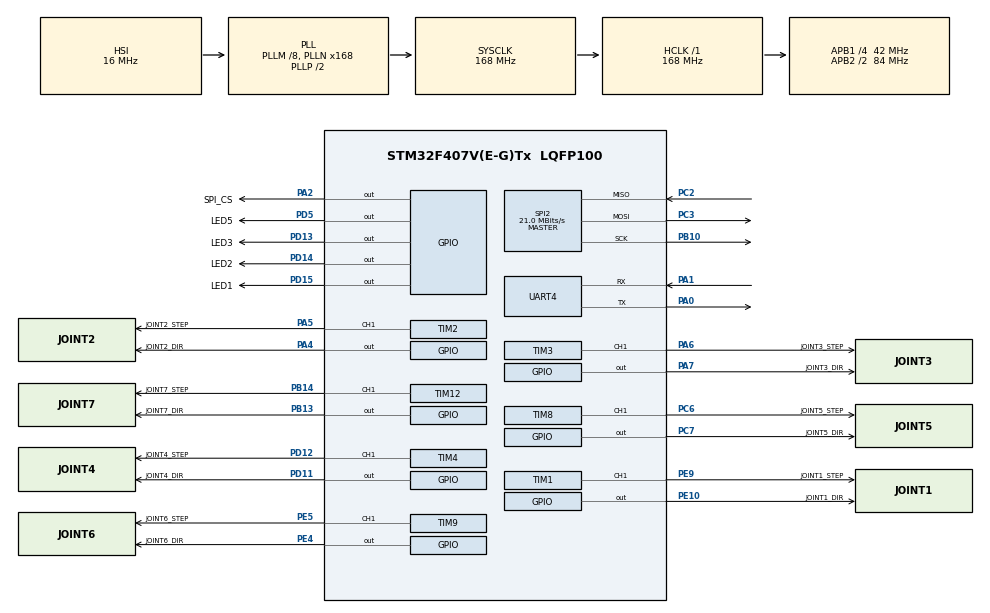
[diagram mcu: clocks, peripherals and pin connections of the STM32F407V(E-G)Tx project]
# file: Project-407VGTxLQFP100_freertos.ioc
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Dma.Request0=UART4_RX
Dma.UART4_RX.0.Direction=DMA_PERIPH_TO_MEMORY
Dma.UART4_RX.0.FIFOMode=DMA_FIFOMODE_DISABLE
Dma.UART4_RX.0.Instance=DMA1_Stream2
Dma.UART4_RX.0.MemDataAlignment=DMA_MDATAALIGN_BYTE
Dma.UART4_RX.0.MemInc=DMA_MINC_ENABLE
Dma.UART4_RX.0.Mode=DMA_NORMAL
Dma.UART4_RX.0.PeriphDataAlignment=DMA_PDATAALIGN_BYTE
Dma.UART4_RX.0.PeriphInc=DMA_PINC_DISABLE
Dma.UART4_RX.0.Priority=DMA_PRIORITY_LOW
FREERTOS.Queues01=JOINT_QUEUE,32,uint32_t,0,Dynamic,NULL,NULL
FREERTOS.Tasks01=defaultTask,24,128,StartDefaultTask,Default,NULL,Dynamic,NULL,NULL;UART_Send,8,128,UARTsend,Default,NULL,Dynamic,NULL,NULL;UART_Get,8,128,UARTget,Default,NULL,Dynamic,NULL,NULL;JOINT_RUN,8,128,JOINT_RUN_QUEUE,Default,NULL,Dynamic,NULL,NULL
Mcu.Family=STM32F4
Mcu.Name=STM32F407V(E-G)Tx
Mcu.Package=LQFP100
NVIC.DMA1_Stream2_IRQn=true\:5\:0\:false\:false\:true\:true\:false\:true
NVIC.PriorityGroup=NVIC_PRIORITYGROUP_4
NVIC.TIM1_BRK_TIM9_IRQn=true\:5\:0\:false\:false\:true\:true\:true\:true
NVIC.TIM1_CC_IRQn=true\:5\:0\:false\:false\:true\:true\:true\:true
NVIC.TIM1_TRG_COM_TIM11_IRQn=true\:5\:0\:false\:false\:true\:true\:true\:true
NVIC.TIM1_UP_TIM10_IRQn=true\:5\:0\:false\:false\:true\:true\:true\:true
NVIC.TIM2_IRQn=true\:5\:0\:false\:false\:true\:true\:true\:true
NVIC.TIM3_IRQn=true\:5\:0\:false\:false\:true\:true\:true\:true
NVIC.TIM4_IRQn=true\:5\:0\:false\:false\:true\:true\:true\:true
NVIC.TIM5_IRQn=true\:0\:0\:false\:false\:true\:false\:false\:true
NVIC.TIM8_BRK_TIM12_IRQn=true\:5\:0\:false\:false\:true\:true\:true\:true
NVIC.TIM8_CC_IRQn=true\:5\:0\:false\:false\:true\:true\:true\:true
NVIC.TIM8_TRG_COM_TIM14_IRQn=true\:5\:0\:false\:false\:true\:false\:false\:true
NVIC.TIM8_UP_TIM13_IRQn=true\:5\:0\:false\:false\:true\:true\:true\:true
NVIC.TimeBase=TIM5_IRQn
NVIC.TimeBaseIP=TIM5
NVIC.UART4_IRQn=true\:5\:0\:false\:false\:true\:true\:true\:true
PA0-WKUP.Mode=Asynchronous
PA0-WKUP.Signal=UART4_TX
PA1.Mode=Asynchronous
PA1.Signal=UART4_RX
PA2.GPIO_Label=SPI_CS
PA2.Signal=GPIO_Output
PA4.GPIO_Label=JOINT2_DIR
PA4.Signal=GPIO_Output
PA5.GPIO_Label=JOINT2_STEP
PA5.Signal=S_TIM2_CH1_ETR
PA6.GPIO_Label=JOINT3_STEP
PA6.Signal=S_TIM3_CH1
PA7.GPIO_Label=JOINT3_DIR
PA7.Signal=GPIO_Output
PB10.Mode=Full_Duplex_Master
PB10.Signal=SPI2_SCK
PB13.GPIO_Label=JOINT7_DIR
PB13.Signal=GPIO_Output
PB14.GPIO_Label=JOINT7_STEP
PB14.Signal=S_TIM12_CH1
PC14-OSC32_IN.Mode=LSE-External-Oscillator
PC14-OSC32_IN.Signal=RCC_OSC32_IN
PC15-OSC32_OUT.Mode=LSE-External-Oscillator
PC15-OSC32_OUT.Signal=RCC_OSC32_OUT
PC2.Mode=Full_Duplex_Master
PC2.Signal=SPI2_MISO
PC3.Mode=Full_Duplex_Master
PC3.Signal=SPI2_MOSI
PC6.GPIO_Label=JOINT5_STEP
PC6.Signal=S_TIM8_CH1
PC7.GPIO_Label=JOINT5_DIR
PC7.Signal=GPIO_Output
PD11.GPIO_Label=JOINT4_DIR
PD11.Signal=GPIO_Output
PD12.GPIO_Label=JOINT4_STEP
PD12.Signal=S_TIM4_CH1
PD13.GPIO_Label=LED3
PD13.Signal=GPIO_Output
PD14.GPIO_Label=LED2
PD14.Signal=GPIO_Output
PD15.GPIO_Label=LED1
PD15.Signal=GPIO_Output
PD5.GPIO_Label=LED5
PD5.Signal=GPIO_Output
PE10.GPIO_Label=JOINT1_DIR
PE10.Signal=GPIO_Output
PE4.GPIO_Label=JOINT6_DIR
PE4.Signal=GPIO_Output
PE5.GPIO_Label=JOINT6_STEP
PE5.Signal=S_TIM9_CH1
PE9.GPIO_Label=JOINT1_STEP
PE9.Signal=S_TIM1_CH1
PH0-OSC_IN.Mode=HSE-External-Oscillator
PH0-OSC_IN.Signal=RCC_OSC_IN
PH1-OSC_OUT.Mode=HSE-External-Oscillator
PH1-OSC_OUT.Signal=RCC_OSC_OUT
ProjectManager.HeapSize=0x200
ProjectManager.StackSize=0x400
ProjectManager.TargetToolchain=STM32CubeIDE
RCC.48MHZClocksFreq_Value=84000000
RCC.AHBFreq_Value=168000000
RCC.APB1CLKDivider=RCC_HCLK_DIV4
RCC.APB1Freq_Value=42000000
RCC.APB1TimFreq_Value=84000000
RCC.APB2CLKDivider=RCC_HCLK_DIV2
RCC.APB2Freq_Value=84000000
RCC.APB2TimFreq_Value=168000000
RCC.CortexFreq_Value=168000000
RCC.HCLKFreq_Value=168000000
RCC.HSE_VALUE=25000000
RCC.HSI_VALUE=16000000
RCC.PLLM=8
RCC.PLLN=168
RCC.SYSCLKFreq_VALUE=168000000
RCC.SYSCLKSource=RCC_SYSCLKSOURCE_PLLCLK
RCC.VCOOutputFreq_Value=336000000
SH.S_TIM12_CH1.0=TIM12_CH1,PWM Generation1 CH1
SH.S_TIM1_CH1.0=TIM1_CH1,PWM Generation1 CH1
SH.S_TIM2_CH1_ETR.0=TIM2_CH1,PWM Generation1 CH1
SH.S_TIM3_CH1.0=TIM3_CH1,PWM Generation1 CH1
SH.S_TIM4_CH1.0=TIM4_CH1,PWM Generation1 CH1
SH.S_TIM8_CH1.0=TIM8_CH1,PWM Generation1 CH1
SH.S_TIM9_CH1.0=TIM9_CH1,PWM Generation1 CH1
SPI2.BaudRatePrescaler=SPI_BAUDRATEPRESCALER_2
SPI2.CRCCalculation=SPI_CRCCALCULATION_DISABLE
SPI2.CalculateBaudRate=21.0 MBits/s
SPI2.Direction=SPI_DIRECTION_2LINES
SPI2.Mode=SPI_MODE_MASTER
SPI2.VirtualType=VM_MASTER
TIM1.AutoReloadPreload=TIM_AUTORELOAD_PRELOAD_ENABLE
TIM1.Channel-PWM\ Generation1\ CH1=TIM_CHANNEL_1
TIM1.OCMode_PWM-PWM\ Generation1\ CH1=TIM_OCMODE_PWM1
TIM1.Period=3000
TIM1.Prescaler=84-1
TIM1.Pulse-PWM\ Generation1\ CH1=1500
TIM1.RepetitionCounter=0
TIM12.AutoReloadPreload=TIM_AUTORELOAD_PRELOAD_ENABLE
TIM12.Channel-PWM\ Generation1\ CH1=TIM_CHANNEL_1
TIM12.Period=2000
TIM12.Prescaler=84-1
TIM12.Pulse-PWM\ Generation1\ CH1=1000
TIM2.AutoReloadPreload=TIM_AUTORELOAD_PRELOAD_ENABLE
TIM2.Channel-PWM\ Generation1\ CH1=TIM_CHANNEL_1
TIM2.Period=2000
TIM2.Prescaler=84-1
TIM2.Pulse-PWM\ Generation1\ CH1=1500
TIM3.AutoReloadPreload=TIM_AUTORELOAD_PRELOAD_ENABLE
TIM3.Channel-PWM\ Generation1\ CH1=TIM_CHANNEL_1
TIM3.Period=2000
TIM3.Prescaler=84-1
TIM3.Pulse-PWM\ Generation1\ CH1=1000
TIM4.AutoReloadPreload=TIM_AUTORELOAD_PRELOAD_ENABLE
TIM4.Channel-PWM\ Generation1\ CH1=TIM_CHANNEL_1
TIM4.Period=2000
TIM4.Prescaler=84-1
TIM4.Pulse-PWM\ Generation1\ CH1=1000
TIM8.AutoReloadPreload=TIM_AUTORELOAD_PRELOAD_ENABLE
TIM8.Channel-PWM\ Generation1\ CH1=TIM_CHANNEL_1
TIM8.Period=2000
TIM8.Prescaler=84-1
TIM8.Pulse-PWM\ Generation1\ CH1=1000
TIM9.AutoReloadPreload=TIM_AUTORELOAD_PRELOAD_ENABLE
TIM9.Channel-PWM\ Generation1\ CH1=TIM_CHANNEL_1
TIM9.Period=2000
TIM9.Prescaler=84-1
TIM9.Pulse-PWM\ Generation1\ CH1=1000
UART4.VirtualMode=Asynchronous
VP_FREERTOS_VS_CMSIS_V2.Mode=CMSIS_V2
VP_SYS_VS_tim5.Mode=TIM5
VP_TIM12_VS_ClockSourceINT.Mode=Internal
VP_TIM1_VS_ClockSourceINT.Mode=Internal
VP_TIM2_VS_ClockSourceINT.Mode=Internal
VP_TIM3_VS_ClockSourceINT.Mode=Internal
VP_TIM4_VS_ClockSourceINT.Mode=Internal
VP_TIM8_VS_ClockSourceINT.Mode=Internal
VP_TIM9_VS_ClockSourceINT.Mode=Internal
board=custom

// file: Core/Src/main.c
/* USER CODE BEGIN Header */
/**
 ******************************************************************************
 * @file           : main.c
 * @brief          : Main program body
 ******************************************************************************
 * @attention
 *
 * <h2><center>&copy; Copyright (c) 2020 STMicroelectronics.
 * All rights reserved.</center></h2>
 *
 * This software component is licensed by ST under Ultimate Liberty license
 * SLA0044, the "License"; You may not use this file except in compliance with
 * the License. You may obtain a copy of the License at:
 *                             www.st.com/SLA0044
 *
 ******************************************************************************
 */
/* USER CODE END Header */
#include "main.h"
#include "cmsis_os.h"

/* USER CODE BEGIN Includes */
#include "RobotArm.h"

#include <time.h>
#include <stdlib.h>
#include <math.h>
#include "string.h"

#include <stdio.h>
#include <stdlib.h>
#include <string.h>
#include <assert.h>

/* USER CODE END Includes */

SPI_HandleTypeDef hspi2;

TIM_HandleTypeDef htim1;
TIM_HandleTypeDef htim2;
TIM_HandleTypeDef htim3;
TIM_HandleTypeDef htim4;
TIM_HandleTypeDef htim8;
TIM_HandleTypeDef htim9;
TIM_HandleTypeDef htim12;

UART_HandleTypeDef huart4;
DMA_HandleTypeDef hdma_uart4_rx;

/* Definitions for defaultTask */
osThreadId_t defaultTaskHandle;
const osThreadAttr_t defaultTask_attributes = {
  .name = "defaultTask",
  .priority = (osPriority_t) osPriorityNormal,
  .stack_size = 128 * 4
};
/* Definitions for UART_Send */
osThreadId_t UART_SendHandle;
const osThreadAttr_t UART_Send_attributes = {
  .name = "UART_Send",
  .priority = (osPriority_t) osPriorityLow,
  .stack_size = 128 * 4
};
/* Definitions for UART_Get */
osThreadId_t UART_GetHandle;
const osThreadAttr_t UART_Get_attributes = {
  .name = "UART_Get",
  .priority = (osPriority_t) osPriorityLow,
  .stack_size = 128 * 4
};
/* Definitions for JOINT_RUN */
osThreadId_t JOINT_RUNHandle;
const osThreadAttr_t JOINT_RUN_attributes = {
  .name = "JOINT_RUN",
  .priority = (osPriority_t) osPriorityLow,
  .stack_size = 128 * 4
};
/* Definitions for JOINT_QUEUE */
osMessageQueueId_t JOINT_QUEUEHandle;
const osMessageQueueAttr_t JOINT_QUEUE_attributes = {
  .name = "JOINT_QUEUE"
};
/* USER CODE BEGIN PV */
/************** TIMER COUNTERS ****************/
int64_t TIM1_COUNTER = 0;
int64_t TIM2_COUNTER = 0;
int64_t TIM3_COUNTER = 0;
int64_t TIM4_COUNTER = 0;
int64_t TIM5_COUNTER = 0;
int64_t TIM6_COUNTER = 0;
int64_t TIM7_COUNTER = 0;
/************** JOINT`s LIMITS ****************/
int32_t JOINT1_STEPS_HOME = 0, JOINT1_STEPS_CURRENT = 0, JOINT1_STEPS_MIN = -15000, JOINT1_STEPS_MAX = 15000;
uint32_t JOINT2_STEPS_HOME = 0, JOINT2_STEPS_CURRENT = 0, JOINT2_STEPS_MIN = 0, JOINT2_STEPS_MAX = 14000;
uint32_t JOINT3_STEPS_HOME = 0, JOINT3_STEPS_CURRENT = 0, JOINT3_STEPS_MIN = 0, JOINT3_STEPS_MAX = 10800;
int32_t JOINT4_STEPS_HOME = 0, JOINT4_STEPS_CURRENT = 0, JOINT4_STEPS_MIN = -7500, JOINT4_STEPS_MAX = 7500;
int32_t JOINT5_STEPS_HOME = 0, JOINT5_STEPS_CURRENT = 0, JOINT5_STEPS_MIN = -4650, JOINT5_STEPS_MAX = 4650;
uint32_t JOINT6_STEPS_HOME = 0, JOINT6_STEPS_CURRENT = 0, JOINT6_STEPS_MIN = 0, JOINT6_STEPS_MAX = 200000;
uint32_t JOINT7_STEPS_HOME = 0, JOINT7_STEPS_CURRENT = 0, JOINT7_STEPS_MIN = 0, JOINT7_STEPS_MAX = 9300;
/*************** MODE WHEN SETTING UP HOME POSITION *********************/
uint8_t SET_HOME_MODE = 0;
/*************** DEMO *********************/
uint8_t DEMO_START = 0, CAP_START = 0;

uint8_t UART4_RxBUFFER[1024] = { 0 };
uint8_t UART4_INPUT_BYTES_BUFFER_SIZE = 100;
uint8_t led3On = 0;
uint16_t pwmValue = 500;
uint8_t j1dir = 0;

// queues
//#define QUEUE_SIZE (uint32_t) 1
uint32_t JOINTCMD_QUEUE_SIZE = 100;

//typedef struct JointCMD_t {
typedef struct JointCMD_t {
	uint8_t joint_number;
	uint8_t speed; // in percents
	uint8_t direction;
	uint64_t step_count;
//char cmd[60];
} JointCMD;

//xQueueHandle xQueue;

/* USER CODE END PV */

void SystemClock_Config(void);
static void MX_GPIO_Init(void);
static void MX_DMA_Init(void);
static void MX_SPI2_Init(void);
static void MX_TIM1_Init(void);
static void MX_TIM3_Init(void);
static void MX_TIM4_Init(void);
static void MX_TIM8_Init(void);
static void MX_TIM9_Init(void);
static void MX_TIM12_Init(void);
static void MX_UART4_Init(void);
static void MX_TIM2_Init(void);
void StartDefaultTask(void *argument);
void UARTsend(void *argument);
void UARTget(void *argument);
void JOINT_RUN_QUEUE(void *argument);

/* USER CODE BEGIN 0 */
#define INC_DWT_DELAY_H_
#define DWT_DELAY_NEWBIE 0

void DWT_Init(void) {
	if (!(CoreDebug->DEMCR & CoreDebug_DEMCR_TRCENA_Msk)) {
		CoreDebug->DEMCR |= CoreDebug_DEMCR_TRCENA_Msk;
		DWT->CYCCNT = 0;
		DWT->CTRL |= DWT_CTRL_CYCCNTENA_Msk;
	}
}

#if DWT_DELAY_NEWBIE
	void DWT_Delay(uint32_t us) // microseconds
	{
		uint32_t startTick  = DWT->CYCCNT,
		targetTick = DWT->CYCCNT + us * (SystemCoreClock/1000000);

		// Must check if target tick is out of bounds and overflowed
		if (targetTick > startTick) {
			// Not overflowed
			while (DWT->CYCCNT < targetTick);
			} else {
			// Overflowed
			while (DWT->CYCCNT > startTick || DWT->CYCCNT < targetTick);
		}
	}
	#else
void DWT_Delay(uint32_t us) // microseconds
{
	uint32_t startTick = DWT->CYCCNT, delayTicks = us * (SystemCoreClock / 1000000);

	while (DWT->CYCCNT - startTick < delayTicks)
		;
}

#endif
int randint(int n) {
	if ((n - 1) == RAND_MAX) {
		return rand();
	} else {
		int end = RAND_MAX / n; // truncate skew
		end *= n;
		int r;
		while ((r = rand()) >= end)
			;
		return r % n;
	}
}

uint16_t start_delay = 6000;
uint16_t udelay = 3000;

void turn(uint16_t count) {
//	uint16_t lck = 0;
//	uint16_t start_period = 200;
	uint16_t motor_steps_period = 200;

	uint16_t full_period = motor_steps_period * count;
	uint16_t period_counter = 0;
	uint8_t period_chunks_count = full_period / 1000;
	uint16_t period_deceleration = full_period / period_chunks_count;
	uint8_t is_deceleration = 0;
	uint8_t is_accelerated = 0;

	for (uint16_t t = 0; t < count; t++) {
		for (uint16_t i = 0; i < motor_steps_period; i++) {

			//HAL_GPIO_WritePin(GPIOD, LED1_Pin, GPIO_PIN_SET);
			HAL_GPIO_WritePin(GPIOE, JOINT1_STEP_Pin, GPIO_PIN_SET);
			DWT_Delay(udelay);
			HAL_GPIO_WritePin(GPIOE, JOINT1_STEP_Pin, GPIO_PIN_RESET);
			if (i > 100) {
				//HAL_GPIO_WritePin(GPIOD, LED1_Pin, GPIO_PIN_RESET);

			}

			if (udelay > 4000 && is_accelerated != 1)
				udelay -= log(udelay) / log(udelay) * 6;
			else
				is_accelerated = 1;

			if (is_deceleration == 1 && udelay < start_delay)
				udelay += log(udelay) / 4;

			is_deceleration = period_counter >= period_deceleration * (period_chunks_count - 1) ? 1 : 0;
			period_counter++;
		}
	}
}

/* USER CODE END 0 */

int main(void)
{

  /* MCU Configuration--------------------------------------------------------*/

  /* Reset of all peripherals, Initializes the Flash interface and the Systick. */
  HAL_Init();

  /* Configure the system clock */
  SystemClock_Config();

  /* Initialize all configured peripherals */
  MX_GPIO_Init();
  MX_DMA_Init();
  MX_SPI2_Init();
  MX_TIM1_Init();
  MX_TIM3_Init();
  MX_TIM4_Init();
  MX_TIM8_Init();
  MX_TIM9_Init();
  MX_TIM12_Init();
  MX_UART4_Init();
  MX_TIM2_Init();
  /* USER CODE BEGIN 2 */
	//DWT_Init();
  InitRobotArm();
  /* USER CODE END 2 */

  /* Init scheduler */
  osKernelInitialize();

  /* Create the queue(s) */
  /* creation of JOINT_QUEUE */
  JOINT_QUEUEHandle = osMessageQueueNew (32, sizeof(uint32_t), &JOINT_QUEUE_attributes);

  /* USER CODE BEGIN RTOS_QUEUES */
	/* add queues, ... */
	//osMessageQDef(JOINT_QUEUEHandle,QUEUE_SIZE,uint32_t);
	//JOINT_QUEUEHandle=osMessageCreate(osMessageQ(JOINT_QUEUEHandle), NULL);
	//JOINT_QUEUECommand = x
	//xQueue = xQueueCreate(JOINTCMD_QUEUE_SIZE, sizeof(JointCMD));
  /* USER CODE END RTOS_QUEUES */

  /* Create the thread(s) */
  /* creation of defaultTask */
  defaultTaskHandle = osThreadNew(StartDefaultTask, NULL, &defaultTask_attributes);

  /* creation of UART_Send */
  UART_SendHandle = osThreadNew(UARTsend, NULL, &UART_Send_attributes);

  /* creation of UART_Get */
  UART_GetHandle = osThreadNew(UARTget, NULL, &UART_Get_attributes);

  /* creation of JOINT_RUN */
  JOINT_RUNHandle = osThreadNew(JOINT_RUN_QUEUE, NULL, &JOINT_RUN_attributes);

  /* Start scheduler */
  osKernelStart();

  /* We should never get here as control is now taken by the scheduler */
  /* Infinite loop */
	while (1) {

	}
}

void SystemClock_Config(void)
{
  RCC_OscInitTypeDef RCC_OscInitStruct = {0};
  RCC_ClkInitTypeDef RCC_ClkInitStruct = {0};

  /** Configure the main internal regulator output voltage
  */
  __HAL_RCC_PWR_CLK_ENABLE();
  __HAL_PWR_VOLTAGESCALING_CONFIG(PWR_REGULATOR_VOLTAGE_SCALE1);
  /** Initializes the RCC Oscillators according to the specified parameters
  * in the RCC_OscInitTypeDef structure.
  */
  RCC_OscInitStruct.OscillatorType = RCC_OSCILLATORTYPE_HSI;
  RCC_OscInitStruct.HSIState = RCC_HSI_ON;
  RCC_OscInitStruct.HSICalibrationValue = RCC_HSICALIBRATION_DEFAULT;
  RCC_OscInitStruct.PLL.PLLState = RCC_PLL_ON;
  RCC_OscInitStruct.PLL.PLLSource = RCC_PLLSOURCE_HSI;
  RCC_OscInitStruct.PLL.PLLM = 8;
  RCC_OscInitStruct.PLL.PLLN = 168;
  RCC_OscInitStruct.PLL.PLLP = RCC_PLLP_DIV2;
  RCC_OscInitStruct.PLL.PLLQ = 4;
  if (HAL_RCC_OscConfig(&RCC_OscInitStruct) != HAL_OK)
  {
    Error_Handler();
  }
  /** Initializes the CPU, AHB and APB buses clocks
  */
  RCC_ClkInitStruct.ClockType = RCC_CLOCKTYPE_HCLK|RCC_CLOCKTYPE_SYSCLK
                              |RCC_CLOCKTYPE_PCLK1|RCC_CLOCKTYPE_PCLK2;
  RCC_ClkInitStruct.SYSCLKSource = RCC_SYSCLKSOURCE_PLLCLK;
  RCC_ClkInitStruct.AHBCLKDivider = RCC_SYSCLK_DIV1;
  RCC_ClkInitStruct.APB1CLKDivider = RCC_HCLK_DIV4;
  RCC_ClkInitStruct.APB2CLKDivider = RCC_HCLK_DIV2;

  if (HAL_RCC_ClockConfig(&RCC_ClkInitStruct, FLASH_LATENCY_5) != HAL_OK)
  {
    Error_Handler();
  }
}

static void MX_SPI2_Init(void)
{

  /* SPI2 parameter configuration*/
  hspi2.Instance = SPI2;
  hspi2.Init.Mode = SPI_MODE_MASTER;
  hspi2.Init.Direction = SPI_DIRECTION_2LINES;
  hspi2.Init.DataSize = SPI_DATASIZE_8BIT;
  hspi2.Init.CLKPolarity = SPI_POLARITY_LOW;
  hspi2.Init.CLKPhase = SPI_PHASE_1EDGE;
  hspi2.Init.NSS = SPI_NSS_SOFT;
  hspi2.Init.BaudRatePrescaler = SPI_BAUDRATEPRESCALER_2;
  hspi2.Init.FirstBit = SPI_FIRSTBIT_MSB;
  hspi2.Init.TIMode = SPI_TIMODE_DISABLE;
  hspi2.Init.CRCCalculation = SPI_CRCCALCULATION_DISABLE;
  hspi2.Init.CRCPolynomial = 10;
  if (HAL_SPI_Init(&hspi2) != HAL_OK)
  {
    Error_Handler();
  }

}

static void MX_TIM1_Init(void)
{

  TIM_ClockConfigTypeDef sClockSourceConfig = {0};
  TIM_MasterConfigTypeDef sMasterConfig = {0};
  TIM_OC_InitTypeDef sConfigOC = {0};
  TIM_BreakDeadTimeConfigTypeDef sBreakDeadTimeConfig = {0};

  htim1.Instance = TIM1;
  htim1.Init.Prescaler = 84-1;
  htim1.Init.CounterMode = TIM_COUNTERMODE_UP;
  htim1.Init.Period = 3000;
  htim1.Init.ClockDivision = TIM_CLOCKDIVISION_DIV1;
  htim1.Init.RepetitionCounter = 0;
  htim1.Init.AutoReloadPreload = TIM_AUTORELOAD_PRELOAD_ENABLE;
  if (HAL_TIM_Base_Init(&htim1) != HAL_OK)
  {
    Error_Handler();
  }
  sClockSourceConfig.ClockSource = TIM_CLOCKSOURCE_INTERNAL;
  if (HAL_TIM_ConfigClockSource(&htim1, &sClockSourceConfig) != HAL_OK)
  {
    Error_Handler();
  }
  if (HAL_TIM_PWM_Init(&htim1) != HAL_OK)
  {
    Error_Handler();
  }
  sMasterConfig.MasterOutputTrigger = TIM_TRGO_RESET;
  sMasterConfig.MasterSlaveMode = TIM_MASTERSLAVEMODE_DISABLE;
  if (HAL_TIMEx_MasterConfigSynchronization(&htim1, &sMasterConfig) != HAL_OK)
  {
    Error_Handler();
  }
  sConfigOC.OCMode = TIM_OCMODE_PWM1;
  sConfigOC.Pulse = 1500;
  sConfigOC.OCPolarity = TIM_OCPOLARITY_HIGH;
  sConfigOC.OCNPolarity = TIM_OCNPOLARITY_HIGH;
  sConfigOC.OCFastMode = TIM_OCFAST_DISABLE;
  sConfigOC.OCIdleState = TIM_OCIDLESTATE_RESET;
  sConfigOC.OCNIdleState = TIM_OCNIDLESTATE_RESET;
  if (HAL_TIM_PWM_ConfigChannel(&htim1, &sConfigOC, TIM_CHANNEL_1) != HAL_OK)
  {
    Error_Handler();
  }
  sBreakDeadTimeConfig.OffStateRunMode = TIM_OSSR_DISABLE;
  sBreakDeadTimeConfig.OffStateIDLEMode = TIM_OSSI_DISABLE;
  sBreakDeadTimeConfig.LockLevel = TIM_LOCKLEVEL_OFF;
  sBreakDeadTimeConfig.DeadTime = 0;
  sBreakDeadTimeConfig.BreakState = TIM_BREAK_DISABLE;
  sBreakDeadTimeConfig.BreakPolarity = TIM_BREAKPOLARITY_HIGH;
  sBreakDeadTimeConfig.AutomaticOutput = TIM_AUTOMATICOUTPUT_DISABLE;
  if (HAL_TIMEx_ConfigBreakDeadTime(&htim1, &sBreakDeadTimeConfig) != HAL_OK)
  {
    Error_Handler();
  }
  HAL_TIM_MspPostInit(&htim1);

}

static void MX_TIM2_Init(void)
{

  TIM_ClockConfigTypeDef sClockSourceConfig = {0};
  TIM_MasterConfigTypeDef sMasterConfig = {0};
  TIM_OC_InitTypeDef sConfigOC = {0};

  htim2.Instance = TIM2;
  htim2.Init.Prescaler = 84-1;
  htim2.Init.CounterMode = TIM_COUNTERMODE_UP;
  htim2.Init.Period = 2000;
  htim2.Init.ClockDivision = TIM_CLOCKDIVISION_DIV1;
  htim2.Init.AutoReloadPreload = TIM_AUTORELOAD_PRELOAD_ENABLE;
  if (HAL_TIM_Base_Init(&htim2) != HAL_OK)
  {
    Error_Handler();
  }
  sClockSourceConfig.ClockSource = TIM_CLOCKSOURCE_INTERNAL;
  if (HAL_TIM_ConfigClockSource(&htim2, &sClockSourceConfig) != HAL_OK)
  {
    Error_Handler();
  }
  if (HAL_TIM_PWM_Init(&htim2) != HAL_OK)
  {
    Error_Handler();
  }
  sMasterConfig.MasterOutputTrigger = TIM_TRGO_RESET;
  sMasterConfig.MasterSlaveMode = TIM_MASTERSLAVEMODE_DISABLE;
  if (HAL_TIMEx_MasterConfigSynchronization(&htim2, &sMasterConfig) != HAL_OK)
  {
    Error_Handler();
  }
  sConfigOC.OCMode = TIM_OCMODE_PWM1;
  sConfigOC.Pulse = 1500;
  sConfigOC.OCPolarity = TIM_OCPOLARITY_HIGH;
  sConfigOC.OCFastMode = TIM_OCFAST_DISABLE;
  if (HAL_TIM_PWM_ConfigChannel(&htim2, &sConfigOC, TIM_CHANNEL_1) != HAL_OK)
  {
    Error_Handler();
  }
  HAL_TIM_MspPostInit(&htim2);

}

static void MX_TIM3_Init(void)
{

  TIM_ClockConfigTypeDef sClockSourceConfig = {0};
  TIM_MasterConfigTypeDef sMasterConfig = {0};
  TIM_OC_InitTypeDef sConfigOC = {0};

  htim3.Instance = TIM3;
  htim3.Init.Prescaler = 84-1;
  htim3.Init.CounterMode = TIM_COUNTERMODE_UP;
  htim3.Init.Period = 2000;
  htim3.Init.ClockDivision = TIM_CLOCKDIVISION_DIV1;
  htim3.Init.AutoReloadPreload = TIM_AUTORELOAD_PRELOAD_ENABLE;
  if (HAL_TIM_Base_Init(&htim3) != HAL_OK)
  {
    Error_Handler();
  }
  sClockSourceConfig.ClockSource = TIM_CLOCKSOURCE_INTERNAL;
  if (HAL_TIM_ConfigClockSource(&htim3, &sClockSourceConfig) != HAL_OK)
  {
    Error_Handler();
  }
  if (HAL_TIM_PWM_Init(&htim3) != HAL_OK)
  {
    Error_Handler();
  }
  sMasterConfig.MasterOutputTrigger = TIM_TRGO_RESET;
  sMasterConfig.MasterSlaveMode = TIM_MASTERSLAVEMODE_DISABLE;
  if (HAL_TIMEx_MasterConfigSynchronization(&htim3, &sMasterConfig) != HAL_OK)
  {
    Error_Handler();
  }
  sConfigOC.OCMode = TIM_OCMODE_PWM1;
  sConfigOC.Pulse = 1000;
  sConfigOC.OCPolarity = TIM_OCPOLARITY_HIGH;
  sConfigOC.OCFastMode = TIM_OCFAST_DISABLE;
  if (HAL_TIM_PWM_ConfigChannel(&htim3, &sConfigOC, TIM_CHANNEL_1) != HAL_OK)
  {
    Error_Handler();
  }
  HAL_TIM_MspPostInit(&htim3);

}

static void MX_TIM4_Init(void)
{

  TIM_ClockConfigTypeDef sClockSourceConfig = {0};
  TIM_MasterConfigTypeDef sMasterConfig = {0};
  TIM_OC_InitTypeDef sConfigOC = {0};

  htim4.Instance = TIM4;
  htim4.Init.Prescaler = 84-1;
  htim4.Init.CounterMode = TIM_COUNTERMODE_UP;
  htim4.Init.Period = 2000;
  htim4.Init.ClockDivision = TIM_CLOCKDIVISION_DIV1;
  htim4.Init.AutoReloadPreload = TIM_AUTORELOAD_PRELOAD_ENABLE;
  if (HAL_TIM_Base_Init(&htim4) != HAL_OK)
  {
    Error_Handler();
  }
  sClockSourceConfig.ClockSource = TIM_CLOCKSOURCE_INTERNAL;
  if (HAL_TIM_ConfigClockSource(&htim4, &sClockSourceConfig) != HAL_OK)
  {
    Error_Handler();
  }
  if (HAL_TIM_PWM_Init(&htim4) != HAL_OK)
  {
    Error_Handler();
  }
  sMasterConfig.MasterOutputTrigger = TIM_TRGO_RESET;
  sMasterConfig.MasterSlaveMode = TIM_MASTERSLAVEMODE_DISABLE;
  if (HAL_TIMEx_MasterConfigSynchronization(&htim4, &sMasterConfig) != HAL_OK)
  {
    Error_Handler();
  }
  sConfigOC.OCMode = TIM_OCMODE_PWM1;
  sConfigOC.Pulse = 1000;
  sConfigOC.OCPolarity = TIM_OCPOLARITY_HIGH;
  sConfigOC.OCFastMode = TIM_OCFAST_DISABLE;
  if (HAL_TIM_PWM_ConfigChannel(&htim4, &sConfigOC, TIM_CHANNEL_1) != HAL_OK)
  {
    Error_Handler();
  }
  HAL_TIM_MspPostInit(&htim4);

}

static void MX_TIM8_Init(void)
{

  TIM_ClockConfigTypeDef sClockSourceConfig = {0};
  TIM_MasterConfigTypeDef sMasterConfig = {0};
  TIM_OC_InitTypeDef sConfigOC = {0};
  TIM_BreakDeadTimeConfigTypeDef sBreakDeadTimeConfig = {0};

  htim8.Instance = TIM8;
  htim8.Init.Prescaler = 84-1;
  htim8.Init.CounterMode = TIM_COUNTERMODE_UP;
  htim8.Init.Period = 2000;
  htim8.Init.ClockDivision = TIM_CLOCKDIVISION_DIV1;
  htim8.Init.RepetitionCounter = 0;
  htim8.Init.AutoReloadPreload = TIM_AUTORELOAD_PRELOAD_ENABLE;
  if (HAL_TIM_Base_Init(&htim8) != HAL_OK)
  {
    Error_Handler();
  }
  sClockSourceConfig.ClockSource = TIM_CLOCKSOURCE_INTERNAL;
  if (HAL_TIM_ConfigClockSource(&htim8, &sClockSourceConfig) != HAL_OK)
  {
    Error_Handler();
  }
  if (HAL_TIM_PWM_Init(&htim8) != HAL_OK)
  {
    Error_Handler();
  }
  sMasterConfig.MasterOutputTrigger = TIM_TRGO_RESET;
  sMasterConfig.MasterSlaveMode = TIM_MASTERSLAVEMODE_DISABLE;
  if (HAL_TIMEx_MasterConfigSynchronization(&htim8, &sMasterConfig) != HAL_OK)
  {
    Error_Handler();
  }
  sConfigOC.OCMode = TIM_OCMODE_PWM1;
  sConfigOC.Pulse = 1000;
  sConfigOC.OCPolarity = TIM_OCPOLARITY_HIGH;
  sConfigOC.OCNPolarity = TIM_OCNPOLARITY_HIGH;
  sConfigOC.OCFastMode = TIM_OCFAST_DISABLE;
  sConfigOC.OCIdleState = TIM_OCIDLESTATE_RESET;
  sConfigOC.OCNIdleState = TIM_OCNIDLESTATE_RESET;
  if (HAL_TIM_PWM_ConfigChannel(&htim8, &sConfigOC, TIM_CHANNEL_1) != HAL_OK)
  {
    Error_Handler();
  }
  sBreakDeadTimeConfig.OffStateRunMode = TIM_OSSR_DISABLE;
  sBreakDeadTimeConfig.OffStateIDLEMode = TIM_OSSI_DISABLE;
  sBreakDeadTimeConfig.LockLevel = TIM_LOCKLEVEL_OFF;
  sBreakDeadTimeConfig.DeadTime = 0;
  sBreakDeadTimeConfig.BreakState = TIM_BREAK_DISABLE;
  sBreakDeadTimeConfig.BreakPolarity = TIM_BREAKPOLARITY_HIGH;
  sBreakDeadTimeConfig.AutomaticOutput = TIM_AUTOMATICOUTPUT_DISABLE;
  if (HAL_TIMEx_ConfigBreakDeadTime(&htim8, &sBreakDeadTimeConfig) != HAL_OK)
  {
    Error_Handler();
  }
  HAL_TIM_MspPostInit(&htim8);

}

static void MX_TIM9_Init(void)
{

  TIM_ClockConfigTypeDef sClockSourceConfig = {0};
  TIM_OC_InitTypeDef sConfigOC = {0};

  htim9.Instance = TIM9;
  htim9.Init.Prescaler = 84-1;
  htim9.Init.CounterMode = TIM_COUNTERMODE_UP;
  htim9.Init.Period = 2000;
  htim9.Init.ClockDivision = TIM_CLOCKDIVISION_DIV1;
  htim9.Init.AutoReloadPreload = TIM_AUTORELOAD_PRELOAD_ENABLE;
  if (HAL_TIM_Base_Init(&htim9) != HAL_OK)
  {
    Error_Handler();
  }
  sClockSourceConfig.ClockSource = TIM_CLOCKSOURCE_INTERNAL;
  if (HAL_TIM_ConfigClockSource(&htim9, &sClockSourceConfig) != HAL_OK)
  {
    Error_Handler();
  }
  if (HAL_TIM_PWM_Init(&htim9) != HAL_OK)
  {
    Error_Handler();
  }
  sConfigOC.OCMode = TIM_OCMODE_PWM1;
  sConfigOC.Pulse = 1000;
  sConfigOC.OCPolarity = TIM_OCPOLARITY_HIGH;
  sConfigOC.OCFastMode = TIM_OCFAST_DISABLE;
  if (HAL_TIM_PWM_ConfigChannel(&htim9, &sConfigOC, TIM_CHANNEL_1) != HAL_OK)
  {
    Error_Handler();
  }
  HAL_TIM_MspPostInit(&htim9);

}

static void MX_TIM12_Init(void)
{

  TIM_ClockConfigTypeDef sClockSourceConfig = {0};
  TIM_OC_InitTypeDef sConfigOC = {0};

  htim12.Instance = TIM12;
  htim12.Init.Prescaler = 84-1;
  htim12.Init.CounterMode = TIM_COUNTERMODE_UP;
  htim12.Init.Period = 2000;
  htim12.Init.ClockDivision = TIM_CLOCKDIVISION_DIV1;
  htim12.Init.AutoReloadPreload = TIM_AUTORELOAD_PRELOAD_ENABLE;
  if (HAL_TIM_Base_Init(&htim12) != HAL_OK)
  {
    Error_Handler();
  }
  sClockSourceConfig.ClockSource = TIM_CLOCKSOURCE_INTERNAL;
  if (HAL_TIM_ConfigClockSource(&htim12, &sClockSourceConfig) != HAL_OK)
  {
    Error_Handler();
  }
  if (HAL_TIM_PWM_Init(&htim12) != HAL_OK)
  {
    Error_Handler();
  }
  sConfigOC.OCMode = TIM_OCMODE_PWM1;
  sConfigOC.Pulse = 1000;
  sConfigOC.OCPolarity = TIM_OCPOLARITY_HIGH;
  sConfigOC.OCFastMode = TIM_OCFAST_DISABLE;
  if (HAL_TIM_PWM_ConfigChannel(&htim12, &sConfigOC, TIM_CHANNEL_1) != HAL_OK)
  {
    Error_Handler();
  }
  HAL_TIM_MspPostInit(&htim12);

}

static void MX_UART4_Init(void)
{

  huart4.Instance = UART4;
  huart4.Init.BaudRate = 115200;
  huart4.Init.WordLength = UART_WORDLENGTH_8B;
  huart4.Init.StopBits = UART_STOPBITS_1;
  huart4.Init.Parity = UART_PARITY_NONE;
  huart4.Init.Mode = UART_MODE_TX_RX;
  huart4.Init.HwFlowCtl = UART_HWCONTROL_NONE;
  huart4.Init.OverSampling = UART_OVERSAMPLING_16;
  if (HAL_UART_Init(&huart4) != HAL_OK)
  {
    Error_Handler();
  }

}

static void MX_DMA_Init(void)
{

  /* DMA controller clock enable */
  __HAL_RCC_DMA1_CLK_ENABLE();

  /* DMA interrupt init */
  /* DMA1_Stream2_IRQn interrupt configuration */
  HAL_NVIC_SetPriority(DMA1_Stream2_IRQn, 5, 0);
  HAL_NVIC_EnableIRQ(DMA1_Stream2_IRQn);

}

static void MX_GPIO_Init(void)
{
  GPIO_InitTypeDef GPIO_InitStruct = {0};

  /* GPIO Ports Clock Enable */
  __HAL_RCC_GPIOE_CLK_ENABLE();
  __HAL_RCC_GPIOC_CLK_ENABLE();
  __HAL_RCC_GPIOH_CLK_ENABLE();
  __HAL_RCC_GPIOA_CLK_ENABLE();
  __HAL_RCC_GPIOB_CLK_ENABLE();
  __HAL_RCC_GPIOD_CLK_ENABLE();

  /*Configure GPIO pin Output Level */
  HAL_GPIO_WritePin(GPIOE, JOINT6_DIR_Pin|JOINT1_DIR_Pin, GPIO_PIN_RESET);

  /*Configure GPIO pin Output Level */
  HAL_GPIO_WritePin(GPIOA, SPI_CS_Pin|JOINT2_DIR_Pin|JOINT3_DIR_Pin, GPIO_PIN_RESET);

  /*Configure GPIO pin Output Level */
  HAL_GPIO_WritePin(JOINT7_DIR_GPIO_Port, JOINT7_DIR_Pin, GPIO_PIN_RESET);

  /*Configure GPIO pin Output Level */
  HAL_GPIO_WritePin(GPIOD, JOINT4_DIR_Pin|LED3_Pin|LED2_Pin|LED1_Pin
                          |LED5_Pin, GPIO_PIN_RESET);

  /*Configure GPIO pin Output Level */
  HAL_GPIO_WritePin(JOINT5_DIR_GPIO_Port, JOINT5_DIR_Pin, GPIO_PIN_RESET);

  /*Configure GPIO pins : JOINT6_DIR_Pin JOINT1_DIR_Pin */
  GPIO_InitStruct.Pin = JOINT6_DIR_Pin|JOINT1_DIR_Pin;
  GPIO_InitStruct.Mode = GPIO_MODE_OUTPUT_PP;
  GPIO_InitStruct.Pull = GPIO_NOPULL;
  GPIO_InitStruct.Speed = GPIO_SPEED_FREQ_LOW;
  HAL_GPIO_Init(GPIOE, &GPIO_InitStruct);

  /*Configure GPIO pins : SPI_CS_Pin JOINT2_DIR_Pin JOINT3_DIR_Pin */
  GPIO_InitStruct.Pin = SPI_CS_Pin|JOINT2_DIR_Pin|JOINT3_DIR_Pin;
  GPIO_InitStruct.Mode = GPIO_MODE_OUTPUT_PP;
  GPIO_InitStruct.Pull = GPIO_NOPULL;
  GPIO_InitStruct.Speed = GPIO_SPEED_FREQ_LOW;
  HAL_GPIO_Init(GPIOA, &GPIO_InitStruct);

  /*Configure GPIO pin : JOINT7_DIR_Pin */
  GPIO_InitStruct.Pin = JOINT7_DIR_Pin;
  GPIO_InitStruct.Mode = GPIO_MODE_OUTPUT_PP;
  GPIO_InitStruct.Pull = GPIO_NOPULL;
  GPIO_InitStruct.Speed = GPIO_SPEED_FREQ_LOW;
  HAL_GPIO_Init(JOINT7_DIR_GPIO_Port, &GPIO_InitStruct);

  /*Configure GPIO pins : JOINT4_DIR_Pin LED3_Pin LED2_Pin LED1_Pin
                           LED5_Pin */
  GPIO_InitStruct.Pin = JOINT4_DIR_Pin|LED3_Pin|LED2_Pin|LED1_Pin
                          |LED5_Pin;
  GPIO_InitStruct.Mode = GPIO_MODE_OUTPUT_PP;
  GPIO_InitStruct.Pull = GPIO_NOPULL;
  GPIO_InitStruct.Speed = GPIO_SPEED_FREQ_LOW;
  HAL_GPIO_Init(GPIOD, &GPIO_InitStruct);

  /*Configure GPIO pin : JOINT5_DIR_Pin */
  GPIO_InitStruct.Pin = JOINT5_DIR_Pin;
  GPIO_InitStruct.Mode = GPIO_MODE_OUTPUT_PP;
  GPIO_InitStruct.Pull = GPIO_NOPULL;
  GPIO_InitStruct.Speed = GPIO_SPEED_FREQ_LOW;
  HAL_GPIO_Init(JOINT5_DIR_GPIO_Port, &GPIO_InitStruct);

}

/* USER CODE BEGIN 4 */
void speedInit(TIM_HandleTypeDef tim) {
	TIM_ClockConfigTypeDef sClockSourceConfig = { 0 };
	TIM_OC_InitTypeDef sConfigOC = { 0 };

	//htim12.Instance = TIM12;
	htim12.Init.Prescaler = 84 - 1;
	htim12.Init.CounterMode = TIM_COUNTERMODE_UP;
	if (tim.Instance == TIM1) {

	}
	htim12.Init.Period = 2000;
	htim12.Init.ClockDivision = TIM_CLOCKDIVISION_DIV1;
	htim12.Init.AutoReloadPreload = TIM_AUTORELOAD_PRELOAD_ENABLE;
	if (HAL_TIM_Base_Init(&htim12) != HAL_OK) {
		Error_Handler();
	}
	sClockSourceConfig.ClockSource = TIM_CLOCKSOURCE_INTERNAL;
	if (HAL_TIM_ConfigClockSource(&htim12, &sClockSourceConfig) != HAL_OK) {
		Error_Handler();
	}
	if (HAL_TIM_PWM_Init(&htim12) != HAL_OK) {
		Error_Handler();
	}
	sConfigOC.OCMode = TIM_OCMODE_PWM1;
	sConfigOC.Pulse = 1000;
	sConfigOC.OCPolarity = TIM_OCPOLARITY_HIGH;
	sConfigOC.OCFastMode = TIM_OCFAST_DISABLE;
	if (HAL_TIM_PWM_ConfigChannel(&htim12, &sConfigOC, TIM_CHANNEL_1) != HAL_OK) {
		Error_Handler();
	}
	HAL_TIM_MspPostInit(&htim12);
}

void pwm_setvalue(uint16_t value) {
	pwmValue = value;
	TIM_OC_InitTypeDef sConfigOC;

	sConfigOC.OCMode = TIM_OCMODE_PWM1;
	sConfigOC.Pulse = value;
	sConfigOC.OCPolarity = TIM_OCPOLARITY_HIGH;
	sConfigOC.OCFastMode = TIM_OCFAST_DISABLE;
	HAL_TIM_PWM_ConfigChannel(&htim1, &sConfigOC, TIM_CHANNEL_1);
	HAL_TIM_PWM_Start(&htim1, TIM_CHANNEL_1);
}

void HAL_TIM_PWM_PulseFinishedCallback(TIM_HandleTypeDef *htim) {
	//--------------------------------------------------------------------------------------------------------------------
	if (htim->Instance == TIM1) { // joint 1
		/************ LIMITATION COUNTERS JOINT 1 ***************/
		if (HAL_GPIO_ReadPin(GPIOE, JOINT1_DIR_Pin)) { // get direction, IF GPIO_PIN_SET
			JOINT1_STEPS_CURRENT++;
		} else {
			JOINT1_STEPS_CURRENT--;
		}
		if ((JOINT1_STEPS_CURRENT > JOINT1_STEPS_MAX || JOINT1_STEPS_CURRENT < JOINT1_STEPS_MIN) && SET_HOME_MODE != 1) {
			HAL_TIM_PWM_Stop_IT(&htim1, TIM_CHANNEL_1);
			HAL_TIMEx_PWMN_Stop_IT(&htim1, TIM_CHANNEL_1);
			HAL_GPIO_WritePin(GPIOE, JOINT1_DIR_Pin, GPIO_PIN_RESET); // 1 : SET=CLOCKWISE, RESET=ANTI-CLOCKWISE
			return;
		}
		/***********************************************/
		TIM1_COUNTER--;
		if (TIM1_COUNTER <= 0) {
			HAL_TIM_PWM_Stop_IT(&htim1, TIM_CHANNEL_1);
			HAL_TIMEx_PWMN_Stop_IT(&htim1, TIM_CHANNEL_1);
			HAL_GPIO_WritePin(GPIOE, JOINT1_DIR_Pin, GPIO_PIN_RESET); // 1 : SET=CLOCKWISE, RESET=ANTI-CLOCKWISE
		}
	}
	//--------------------------------------------------------------------------------------------------------------------
	if (htim->Instance == TIM2) { // joint 2
		/************ LIMITATION COUNTERS JOINT 2 ***************/
		if (HAL_GPIO_ReadPin(GPIOA, JOINT2_DIR_Pin)) { // get direction, IF GPIO_PIN_SET
			JOINT2_STEPS_CURRENT++;
		} else {
			JOINT2_STEPS_CURRENT--;
		}
		if ((JOINT2_STEPS_CURRENT > JOINT2_STEPS_MAX || JOINT2_STEPS_CURRENT < JOINT2_STEPS_MIN) && SET_HOME_MODE != 1) {
			HAL_TIM_PWM_Stop_IT(&htim2, TIM_CHANNEL_1);
			HAL_TIMEx_PWMN_Stop_IT(&htim2, TIM_CHANNEL_1);
			HAL_GPIO_WritePin(GPIOA, JOINT2_DIR_Pin, GPIO_PIN_RESET); // 1 : SET=CLOCKWISE, RESET=ANTI-CLOCKWISE
			return;
		}
		/***********************************************/
		TIM2_COUNTER--;
		if (TIM2_COUNTER <= 0) {
			HAL_TIM_PWM_Stop_IT(&htim2, TIM_CHANNEL_1);
			HAL_TIMEx_PWMN_Stop_IT(&htim2, TIM_CHANNEL_1);
			HAL_GPIO_WritePin(GPIOA, JOINT2_DIR_Pin, GPIO_PIN_RESET); // 2 : SET=IN, RESET=OUT
		}
	}
	//--------------------------------------------------------------------------------------------------------------------
	if (htim->Instance == TIM3) { // joint 3
		/************ LIMITATION COUNTERS JOINT 3 ***************/
		if (HAL_GPIO_ReadPin(GPIOA, JOINT3_DIR_Pin)) { // get direction, IF GPIO_PIN_SET
			JOINT3_STEPS_CURRENT--;
		} else {
			JOINT3_STEPS_CURRENT++;
		}
		if ((JOINT3_STEPS_CURRENT > JOINT3_STEPS_MAX || JOINT3_STEPS_CURRENT < JOINT3_STEPS_MIN) && SET_HOME_MODE != 1) {
			HAL_TIM_PWM_Stop_IT(&htim3, TIM_CHANNEL_1);
			HAL_TIMEx_PWMN_Stop_IT(&htim3, TIM_CHANNEL_1);
			HAL_GPIO_WritePin(GPIOA, JOINT3_DIR_Pin, GPIO_PIN_RESET); // 3 : SET=IN, RESET=OUT
			return;
		}
		/***********************************************/
		TIM3_COUNTER--;
		if (TIM3_COUNTER <= 0) {
			HAL_TIM_PWM_Stop_IT(&htim3, TIM_CHANNEL_1);
			HAL_TIMEx_PWMN_Stop_IT(&htim3, TIM_CHANNEL_1);
			HAL_GPIO_WritePin(GPIOA, JOINT3_DIR_Pin, GPIO_PIN_RESET); // 3 :  SET=IN, RESET=OUT
		}
	}
	//--------------------------------------------------------------------------------------------------------------------
	if (htim->Instance == TIM4) { // joint 4
		/************ LIMITATION COUNTERS JOINT 4 ***************/
		if (HAL_GPIO_ReadPin(GPIOD, JOINT4_DIR_Pin)) { // get direction, IF GPIO_PIN_SET
			JOINT4_STEPS_CURRENT--;
		} else {
			JOINT4_STEPS_CURRENT++;
		}
		if ((JOINT4_STEPS_CURRENT > JOINT4_STEPS_MAX || JOINT4_STEPS_CURRENT < JOINT4_STEPS_MIN) && SET_HOME_MODE != 1) {
			HAL_TIM_PWM_Stop_IT(&htim4, TIM_CHANNEL_1);
			HAL_TIMEx_PWMN_Stop_IT(&htim4, TIM_CHANNEL_1);
			HAL_GPIO_WritePin(GPIOD, JOINT4_DIR_Pin, GPIO_PIN_RESET); // 4 : SET=CLOCKWISE, RESET=ANTI-CLOCKWISE
			return;
		}
		/***********************************************/
		TIM4_COUNTER--;
		if (TIM4_COUNTER <= 0) {
			HAL_TIM_PWM_Stop_IT(&htim4, TIM_CHANNEL_1);
			HAL_TIMEx_PWMN_Stop_IT(&htim4, TIM_CHANNEL_1);
			HAL_GPIO_WritePin(GPIOD, JOINT4_DIR_Pin, GPIO_PIN_RESET); // 4 :  SET=ANTI-CLOCKWISE, RESET=CLOCKWISE
		}
	}
	//--------------------------------------------------------------------------------------------------------------------
	if (htim->Instance == TIM8) { // joint 5
		/************ LIMITATION COUNTERS JOINT 5 ***************/
		if (HAL_GPIO_ReadPin(GPIOC, JOINT5_DIR_Pin)) { // get direction, IF GPIO_PIN_SET
			JOINT5_STEPS_CURRENT--;
		} else {
			JOINT5_STEPS_CURRENT++;
		}
		if ((JOINT5_STEPS_CURRENT > JOINT5_STEPS_MAX || JOINT5_STEPS_CURRENT < JOINT5_STEPS_MIN) && SET_HOME_MODE != 1) {
			HAL_TIM_PWM_Stop_IT(&htim8, TIM_CHANNEL_1);
			HAL_TIMEx_PWMN_Stop_IT(&htim8, TIM_CHANNEL_1);
			HAL_GPIO_WritePin(GPIOC, JOINT5_DIR_Pin, GPIO_PIN_RESET); // 5 : SET=CLOCKWISE, RESET=ANTI-CLOCKWISE
			return;
		}
		/***********************************************/
		TIM5_COUNTER--;
		if (TIM5_COUNTER <= 0) {
			//HAL_GPIO_TogglePin(GPIOD, LED2_Pin);
			HAL_TIM_PWM_Stop_IT(&htim8, TIM_CHANNEL_1);
			HAL_TIMEx_PWMN_Stop_IT(&htim8, TIM_CHANNEL_1);
			HAL_GPIO_WritePin(GPIOC, JOINT5_DIR_Pin, GPIO_PIN_RESET); // 5 :  SET=ANTI-CLOCKWISE, RESET=CLOCKWISE
		}
	}
	//--------------------------------------------------------------------------------------------------------------------
	if (htim->Instance == TIM9) { // joint 6
		TIM6_COUNTER--;
		if (TIM6_COUNTER <= 0) {
			//HAL_GPIO_TogglePin(GPIOD, LED2_Pin);
			HAL_TIM_PWM_Stop_IT(&htim9, TIM_CHANNEL_1);
			HAL_TIMEx_PWMN_Stop_IT(&htim9, TIM_CHANNEL_1);
			HAL_GPIO_WritePin(GPIOE, JOINT6_DIR_Pin, GPIO_PIN_RESET); // 6 :  SET=ANTI-CLOCKWISE, RESET=CLOCKWISE
		}
	}
	//--------------------------------------------------------------------------------------------------------------------
	if (htim->Instance == TIM12) { // joint 7
		TIM7_COUNTER--;
		if (TIM7_COUNTER <= 0) {
			//HAL_GPIO_TogglePin(GPIOD, LED2_Pin);
			HAL_TIM_PWM_Stop_IT(&htim12, TIM_CHANNEL_1);
			HAL_TIMEx_PWMN_Stop_IT(&htim12, TIM_CHANNEL_1);
			HAL_GPIO_WritePin(GPIOB, JOINT7_DIR_Pin, GPIO_PIN_RESET); // 7 :  SET=ANTI-CLOCKWISE, RESET=CLOCKWISE
		}
	}
}

char* constructMessageUART(uint8_t _msg[]) {
	char *tmp = malloc(sizeof(char) * (1024 + 1));
	// filled part
	for (uint16_t i = 0; i < 12; i++) {
		tmp[i] = (char) _msg[i];
	}
	return tmp;
}

void uartSend(UART_HandleTypeDef *huart, char _out[]) {
	HAL_UART_Transmit(huart, (uint8_t*) _out, strlen(_out), 1000);
	//HAL_UART_Receive_DMA(&huart, UART4_rxBuffer, 1024);
}

// move JOINT
void moveJoint(uint8_t jointNumber, uint32_t steps, uint8_t dir) {
	switch (jointNumber) {
	case 1:
		TIM1_COUNTER = steps;
		HAL_GPIO_WritePin(GPIOE, JOINT1_DIR_Pin, dir == 1 ? GPIO_PIN_SET : GPIO_PIN_RESET); // 1 : SET=CLOCKWISE, RESET=ANTI-CLOCKWISE
		HAL_TIM_PWM_Start_IT(&htim1, TIM_CHANNEL_1); // 1
		break;
	case 2:
		TIM2_COUNTER = steps;
		HAL_GPIO_WritePin(GPIOA, JOINT2_DIR_Pin, dir == 1 ? GPIO_PIN_SET : GPIO_PIN_RESET); // 2 : SET=IN, RESET=OUT
		HAL_TIM_PWM_Start_IT(&htim2, TIM_CHANNEL_1); // 2
		break;
	case 3:
		TIM3_COUNTER = steps;
		HAL_GPIO_WritePin(GPIOA, JOINT3_DIR_Pin, dir == 1 ? GPIO_PIN_SET : GPIO_PIN_RESET); // 3 :  SET=IN, RESET=OUT
		HAL_TIM_PWM_Start_IT(&htim3, TIM_CHANNEL_1); // 3
		break;
	case 4:
		TIM4_COUNTER = steps;
		HAL_GPIO_WritePin(GPIOD, JOINT4_DIR_Pin, dir == 1 ? GPIO_PIN_SET : GPIO_PIN_RESET); // 4 :  SET=ANTI-CLOCKWISE, RESET=CLOCKWISE
		HAL_TIM_PWM_Start_IT(&htim4, TIM_CHANNEL_1); // 4
		break;
	case 5:
		TIM5_COUNTER = steps;
		HAL_GPIO_WritePin(GPIOC, JOINT5_DIR_Pin, dir == 1 ? GPIO_PIN_SET : GPIO_PIN_RESET); // 5 :  SET=ANTI-CLOCKWISE, RESET=CLOCKWISE
		HAL_TIM_PWM_Start_IT(&htim8, TIM_CHANNEL_1); // 5
		break;
	case 6:
		TIM6_COUNTER = steps;
		HAL_GPIO_WritePin(GPIOE, JOINT6_DIR_Pin, dir == 1 ? GPIO_PIN_SET : GPIO_PIN_RESET); // 6 :  SET=ANTI-CLOCKWISE, RESET=CLOCKWISE
		HAL_TIM_PWM_Start_IT(&htim9, TIM_CHANNEL_1); // 6
		break;
	case 7:
		TIM7_COUNTER = steps;
		HAL_GPIO_WritePin(GPIOB, JOINT7_DIR_Pin, dir == 1 ? GPIO_PIN_SET : GPIO_PIN_RESET); // 7 :  SET=ANTI-CLOCKWISE, RESET=CLOCKWISE
		HAL_TIM_PWM_Start_IT(&htim12, TIM_CHANNEL_1); // 7
		break;
	default:
		break;
	}
}

char* extractNumber(char _in[]) {
	char *line = _in;
	for (int i = 0, j; line[i] != '\0'; ++i) {

		// enter the loop if the character is not an alphabet
		// and not the null character
		while (!(line[i] >= '0' && line[i] <= '9') && !(line[i] == '\0')) {
			for (j = i; line[j] != '\0'; ++j) {

				// if jth element of line is not an alphabet,
				// assign the value of (j+1)th element to the jth element
				line[j] = line[j + 1];
			}
			line[j] = '\0';
		}
	}
	return line;
}

// UART Rx callback
void HAL_UART_RxCpltCallback(UART_HandleTypeDef *huart) {
	//led3On = led3On > 0 ? 0 : 1;
	HAL_GPIO_WritePin(GPIOD, LED3_Pin, GPIO_PIN_SET);

	//uartSend(&huart4, "\r\nuart_get: ");

	//osDelay(1000);
	char *uartInput = (char*) UART4_RxBUFFER;
	char *str = (char*) uartInput;
	char delim[] = ":";
//	char PACKET_DELIMITER = ':';

	switch (uartInput[0]) {
	// J - JOINT: "J1", "J2" ...
	// J7:100:0:@@@@@@@@@@@@@@@@@@@@@@@@@@@@@@@@@@@@@@@@@@@@@@@@@@@@@@@@@@@@@@@@@@@@@@@@@@@@@@@@@@@@@@@@@@@
	case 'J': {
		uartSend(&huart4, uartInput);
		uartSend(&huart4, "\r\n");

		uint8_t jointNumber = 0;
		uint64_t jointSteps = 0;
		uint8_t jointDirection = 0;
		// ---------------- split incoming data ---------------------------------------
//		int init_size = strlen(str);
		char *ptr = strtok(str, delim);
		uint32_t counter = 0;
		while (ptr != NULL) {
			switch (counter) {
			case 0: // J7 - joint
			{
				char jn[] = { ptr[1] }; //"0";
				//jn[0]=ptr[1];
				//jn[0]=(char)ptr[1];
				jointNumber = atoi(jn);
				break;
			}
			case 1: // 100 - steps
				jointSteps = atoi(ptr);
				break;
			case 2: // 0 - direction
				jointDirection = atoi(ptr);
				break;
			default:
				break;
			}
			ptr = strtok(NULL, delim);
			counter++;
		}
		// ------------------------------------------------------------------------------------------------
		// debug via uart
		char strnumber[20];
		itoa(jointNumber, strnumber, 10);
		uartSend(&huart4, "\r\njointNumber:");
		uartSend(&huart4, strnumber);

		itoa(jointSteps, strnumber, 10);
		uartSend(&huart4, "\r\njointSteps:");
		uartSend(&huart4, strnumber);

		itoa(jointDirection, strnumber, 10);
		uartSend(&huart4, "\r\njointDirection:");
		uartSend(&huart4, strnumber);
		// ------------------------------------------------------------------------------------------------
		moveJoint(jointNumber, jointSteps, jointDirection);
		break;
	}
	case 'S': // SET HOME MODE ENABLE
	{
		uartSend(&huart4, uartInput);
		uartSend(&huart4, "\r\n");
		char *ptr = strtok(str, delim);
		if (strcmp(ptr, "SETHOME") == 0) {
			uartSend(&huart4, ptr);
			uartSend(&huart4, "\r\n");
			ptr = strtok(NULL, delim);
			SET_HOME_MODE = atoi(ptr);
//			char strnumber[20];
//			itoa(SET_HOME_MODE, strnumber, 10);
//
//			uartSend(&huart4, strnumber);
//			uartSend(&huart4, "\r\n");
		}
		break;
	}
	case 'R': // RESET COUNTERS
	{
		uartSend(&huart4, uartInput);
		uartSend(&huart4, "\r\n");
		char *ptr = strtok(str, delim);
		if (strcmp(ptr, "RESETCOUNTERS") == 0) {
			uartSend(&huart4, ptr);
			uartSend(&huart4, "\r\n");
			JOINT1_STEPS_CURRENT = 0;
			JOINT2_STEPS_CURRENT = 0;
			JOINT3_STEPS_CURRENT = 0;
			JOINT4_STEPS_CURRENT = 0;
			JOINT5_STEPS_CURRENT = 0;
			JOINT6_STEPS_CURRENT = 0;
			JOINT7_STEPS_CURRENT = 0;
		}
		break;
	}
	case 'D': // DEMO
	{
		char *ptr = strtok(str, delim);
		if (strcmp(ptr, "DEMO") == 0) {
			uartSend(&huart4, "DEMO");
			DEMO_START = 1;
		}
		break;
	}
	case 'C': // CAP
	{
		char *ptr = strtok(str, delim);
		if (strcmp(ptr, "CAP") == 0) {
			uartSend(&huart4, "CAP");
			CAP_START = 1;
		}
		break;
	}
	case 'H': {

		break;
	}
	case 'M':

		break;
	default:
		break;
	}

	//HAL_UART_Receive_IT(&huart4, UART4_rxBuffer, 12);
	//uartSend(&huart4, uartInput); // print full line

	//uartSend(&huart4, (UART4_RxBUFFER));
	HAL_UART_Receive_DMA(&huart4, UART4_RxBUFFER, UART4_INPUT_BYTES_BUFFER_SIZE);
	//HAL_GPIO_WritePin(GPIOD, LED3_Pin, GPIO_PIN_RESET);
}

void demoPlay() {
	moveJoint(6, 20000, 0);
	moveJoint(3, 7000, 0);
	moveJoint(2, 7000, 1);

	osDelay(2000);

	moveJoint(5, 3500, 1);
	moveJoint(4, 2000, 1);

	moveJoint(1, 6000, 0);
	osDelay(5000);
	//moveJoint(1, 2000, 1);

	osDelay(4000);

	moveJoint(5, 3500, 0);
	moveJoint(4, 2000, 0);

	osDelay(4500);				 // TOP
	//moveJoint(1, 2000, 1);

	moveJoint(5, 3500, 0);
	moveJoint(4, 2000, 0);

	moveJoint(3, 7000, 1);
	moveJoint(2, 7000, 0);

	moveJoint(6, 500, 1);
	osDelay(1000);
	moveJoint(6, 500, 0);
	osDelay(1000);
	moveJoint(6, 500, 1);
	osDelay(1000);
	moveJoint(6, 500, 0);
	osDelay(1000);

	moveJoint(6, 500, 1);
	osDelay(1000);

	moveJoint(1, 6000, 1);
	moveJoint(5, 3500, 1);
	moveJoint(4, 2000, 1);

	moveJoint(6, 500, 0);
	osDelay(1000);
	moveJoint(6, 500, 1);
	osDelay(1000);
	moveJoint(6, 500, 0);
	osDelay(1000);

	moveJoint(6, 500, 1);
	osDelay(1000);
	moveJoint(6, 500, 0);
	osDelay(1000);
	moveJoint(6, 500, 1);
	osDelay(1000);
	moveJoint(6, 500, 0);
	osDelay(1000);

	moveJoint(6, 500, 1);
	osDelay(1000);
	moveJoint(6, 500, 0);
}

void capPlay() {
	moveJoint(3, 1000, 0);
	moveJoint(2, 10000, 1);

	osDelay(5000);
	moveJoint(5, 1000, 0);
	moveJoint(1, 800, 0);

	osDelay(1000);
	moveJoint(5, 250, 0);
	osDelay(1000);
	moveJoint(5, 250, 0);
	osDelay(1000);
	moveJoint(5, 250, 0);
	osDelay(1000);
	moveJoint(5, 250, 0);

	osDelay(1000);
	moveJoint(5, 250, 0);
	osDelay(1000);
	moveJoint(5, 250, 0);
	osDelay(1000);
	moveJoint(5, 250, 0);
	osDelay(1000);
	moveJoint(5, 250, 0);

	osDelay(1000);
	moveJoint(5, 250, 0);
	osDelay(1000);
	moveJoint(5, 250, 0);
	osDelay(1000);
	moveJoint(5, 250, 0);
	osDelay(1000);
	moveJoint(5, 250, 0);

	osDelay(1000);
	moveJoint(5, 250, 0);
	osDelay(1000);
	moveJoint(5, 250, 0);

	osDelay(1500);
	//moveJoint(5, 1000, 0);
	moveJoint(3, 2000, 0);
	moveJoint(2, 500, 1);

	moveJoint(5, 500, 1);
	osDelay(500);
	//moveJoint(5, 500, 0);
	osDelay(500);
	moveJoint(5, 500, 1);
	osDelay(500);
	moveJoint(5, 500, 1);
	osDelay(500);
	moveJoint(5, 500, 1);
	osDelay(500);
	moveJoint(5, 500, 1);
	osDelay(500);
	moveJoint(5, 500, 0);
	osDelay(500);

// get cup
	osDelay(1000);
	moveJoint(2, 1500, 0);
	osDelay(1500);
	moveJoint(1, 800, 1);
	moveJoint(3, 500, 1);
	moveJoint(5, 500, 0);
// fill water
	osDelay(1500);
	for (uint8_t i = 0; i < 55; ++i) {
		moveJoint(6, 1, 0);
		//moveJoint(2, 20, 0);
		osDelay(40);
	}

	/************ BACK ***************/
	osDelay(10000);
	moveJoint(2, 11000-500, 0);
	moveJoint(3, 1000, 1);

	for (uint8_t i = 0; i < 55; ++i) {
		moveJoint(6, 1, 1);
		//moveJoint(2, 5, 0);
		osDelay(40);
	}

	moveJoint(5, 1000, 0);
	osDelay(1000);

	moveJoint(5, 250, 1);
	osDelay(1000);
	moveJoint(5, 250, 1);
	osDelay(1000);
	//moveJoint(1, 200, 0);
	moveJoint(5, 250, 1);
	osDelay(1000);
	moveJoint(5, 250, 1);

	osDelay(1000);
	moveJoint(5, 250, 1);
	osDelay(1000);
	moveJoint(5, 250, 1);
	osDelay(1000);
	moveJoint(5, 250, 1);
	osDelay(1000);
	moveJoint(5, 250, 1);

	osDelay(1000);
	moveJoint(5, 250, 1);
	osDelay(1000);
	moveJoint(5, 250, 1);
	osDelay(1000);
	moveJoint(5, 250, 1);
	osDelay(1000);
	moveJoint(5, 1250, 1);

	moveJoint(3, 2000, 1);
	//moveJoint(5, 3000, 1);

//	moveJoint(4, 2000, 1);
//
//	moveJoint(1, 6000, 0);
//	osDelay(5000);
//	//moveJoint(1, 2000, 1);
//
//	osDelay(4000);
//
//	moveJoint(5, 3500, 0);
//	moveJoint(4, 2000, 0);
//
//	osDelay(4500);				 // TOP

}
/* USER CODE END 4 */

void StartDefaultTask(void *argument)
{
  /* USER CODE BEGIN 5 */
	/* Infinite loop */
	/************** RESET ALL DIR FOR EMI DISABLE ***************************/
	HAL_GPIO_WritePin(GPIOE, JOINT1_DIR_Pin, GPIO_PIN_RESET); // 1 : SET=CLOCKWISE, RESET=ANTI-CLOCKWISE
	HAL_GPIO_WritePin(GPIOA, JOINT2_DIR_Pin, GPIO_PIN_RESET); // 2 : SET=IN, RESET=OUT
	HAL_GPIO_WritePin(GPIOA, JOINT3_DIR_Pin, GPIO_PIN_RESET); // 3 :  SET=IN, RESET=OUT
	HAL_GPIO_WritePin(GPIOD, JOINT4_DIR_Pin, GPIO_PIN_RESET); // 4 :  SET=ANTI-CLOCKWISE, RESET=CLOCKWISE
	HAL_GPIO_WritePin(GPIOC, JOINT5_DIR_Pin, GPIO_PIN_RESET); // 5 :  SET=ANTI-CLOCKWISE, RESET=CLOCKWISE
	HAL_GPIO_WritePin(GPIOE, JOINT6_DIR_Pin, GPIO_PIN_RESET); // 6 :  SET=ANTI-CLOCKWISE, RESET=CLOCKWISE
	HAL_GPIO_WritePin(GPIOB, JOINT7_DIR_Pin, GPIO_PIN_RESET); // 7 :  SET=ANTI-CLOCKWISE, RESET=CLOCKWISE

	uartSend(&huart4, "START");
	HAL_UART_Receive_DMA(&huart4, UART4_RxBUFFER, UART4_INPUT_BYTES_BUFFER_SIZE);

	for (;;) {
		HAL_GPIO_WritePin(GPIOD, LED1_Pin, GPIO_PIN_SET);
		osDelay(500);
		HAL_GPIO_WritePin(GPIOD, LED1_Pin, GPIO_PIN_RESET);
		osDelay(500);
		HAL_GPIO_WritePin(GPIOD, LED3_Pin, GPIO_PIN_RESET);
		HAL_GPIO_WritePin(GPIOD, LED2_Pin, GPIO_PIN_RESET);
	}
  /* USER CODE END 5 */
}

void UARTsend(void *argument)
{
	for (;;) {
		osDelay(1);
	}
}

void UARTget(void *argument)
{
	for (;;) {
		osDelay(1);
	}
}

void JOINT_RUN_QUEUE(void *argument)
{
  /* USER CODE BEGIN JOINT_RUN_QUEUE */
	/* Infinite loop */
	for (;;) {
		if (DEMO_START == 1) {
			DEMO_START = 0;
			demoPlay();
		}
		if (CAP_START == 1) {
			CAP_START = 0;
			capPlay();
		}
		osDelay(100);
	}
  /* USER CODE END JOINT_RUN_QUEUE */
}

 /**
  * @brief  Period elapsed callback in non blocking mode
  * @note   This function is called  when TIM5 interrupt took place, inside
  * HAL_TIM_IRQHandler(). It makes a direct call to HAL_IncTick() to increment
  * a global variable "uwTick" used as application time base.
  * @param  htim : TIM handle
  * @retval None
  */
void HAL_TIM_PeriodElapsedCallback(TIM_HandleTypeDef *htim)
{
  /* USER CODE BEGIN Callback 0 */
//	if (htim->Instance == TIM2) {
//		HAL_GPIO_WritePin(GPIOD, LED2_Pin, GPIO_PIN_SET);
//		TIM1_COUNTER++;
//		if (TIM1_COUNTER > 200) {
//			HAL_TIM_PWM_Stop(&htim2, TIM_CHANNEL_1);
//			HAL_TIMEx_PWMN_Stop(&htim2, TIM_CHANNEL_1);
//		}
//	}
  /* USER CODE END Callback 0 */
  if (htim->Instance == TIM5) {
    HAL_IncTick();
  }
}

void Error_Handler(void)
{
}

/************************ (C) COPYRIGHT STMicroelectronics *****END OF FILE****/
